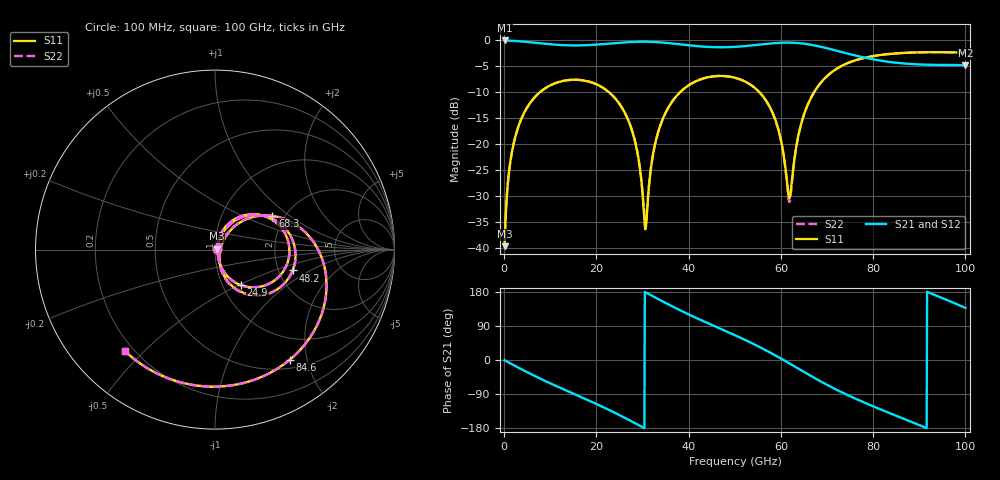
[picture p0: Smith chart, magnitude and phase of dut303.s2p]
! Touchstone file exported from HFSS 2026.1.0
!  File:  C:/ffzhzh/LocalFiles/Ansys_Project_Files/temp_train_TSV_RDL_303_1783696825_45496.aedt
!  Generated:  11:26:18 PM Jul 10, 2026
!  Design:  TSV_RDL
!  Project:  temp_train_TSV_RDL_303_1783696825_45496
! Variables:
!  h_bsmrdl = 3.25um
!  h_ox = 20um
!  h_rdl = 5um
!  h_sub = 55.35um
!  h_tmrdl = 3.82um
!  h_tsv = 55.35um
!  h_via = 3um
!  l_bsmrdl = 327.66um
!  l_sub = 2072.75um
!  l_tmrdl = 135.67um
!  m_sub = 200um
!  pitch = 44.4um
!  r_tsv = 10.33um
!  s_tmrdl = 10um
!  w_bsmrdl = 19.05um
!  w_sub = 500um
!  w_tmrdl = 29.98um
!  x_tsv_center1 = 150.66um
!  x_tsv_center2 = 497.37um
!  x_tsv_center3 = 663.02um
!  x_tsv_center4 = 1009.73um
!  x_tsv_center5 = 1175.38um
!  x_tsv_center6 = 1522.09um
# GHz S MA R 50.000000
! Terminal data exported
! Port[1] = TM_RDL1_1_T1
! Port[2] = TM_RDL5_1_T1
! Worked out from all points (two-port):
!   1000 points, 100 MHz to 100 GHz, reference 50 ohm
!   highest |S21| = -0.08 dB at 100 MHz (marker M1); lowest = -4.8 dB at 100 GHz (marker M2)
!   |S21| within 3 dB of the highest: start of sweep to 76.61 GHz
!   lowest |S11| = -39.7 dB at 100 MHz (marker M3), VSWR 1.02, Z = 50.9 + j0.559 ohm
!   |S11| at or under -10 dB: start of sweep to 7.827 GHz; 22.66 GHz to 38.2 GHz (15.54 GHz wide, 51.1 % of centre); 55.29 GHz to 67.23 GHz (11.95 GHz wide, 19.5 % of centre)
!   |S22| runs from -39.7 to -2.3 dB; largest |S21 - S12| = 1.7e-14
!   S11 on the Smith chart (normalised r, x): 100 MHz: 1.02, +0.01; 24.9 GHz: 1.22, -0.52; 48.2 GHz: 2.38, -0.69; 68.3 GHz: 1.73, +0.75; 84.6 GHz: 0.63, -1.71; 100 GHz: 0.17, -0.44
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0.1  0.01032 32.2  0.9913 -0.7  0.9913 -0.7  0.01032 32.2
! Gamma 0 0 0 0
! Port Impedance 50 0 50 0
1.6  0.07933 70.7  0.9849 -10.6  0.9849 -10.6  0.07933 70.7
4.4  0.2015 57.2  0.9642 -28.5  0.9642 -28.5  0.2015 57.2
10.2  0.3697 24.6  0.909 -62.7  0.909 -62.7  0.3696 24.6
16.8  0.4107 -10.1  0.8896 -98.5  0.8896 -98.5  0.4106 -10.0
24.9  0.2462 -53.8  0.9408 -144.8  0.9408 -144.8  0.2462 -53.5
28.4  0.1047 -70.7  0.9616 -166.8  0.9616 -166.8  0.1048 -69.8
30.6  0.01501 -8.6  0.9644 178.9  0.9644 178.9  0.01686 -7.3
33.4  0.13 62.8  0.9535 160.7  0.9535 160.7  0.1305 61.9
40.3  0.3737 26.2  0.8875 118.7  0.8875 118.7  0.374 25.8
48.2  0.448 -15.0  0.8538 75.5  0.8538 75.5  0.4481 -15.4
50.1  0.4324 -24.8  0.8608 65.1  0.8608 65.1  0.4326 -25.2
58  0.2079 -66.5  0.9294 17.5  0.9294 17.5  0.2077 -67.3
61.8  0.03013 -15.5  0.9447 -8.8  0.9447 -8.8  0.02758 -16.2
64.1  0.1384 51.1  0.9326 -25.1  0.9326 -25.1  0.1379 52.1
66.7  0.2876 39.7  0.8982 -43.5  0.8982 -43.5  0.2874 40.1
68.3  0.3708 30.4  0.8688 -54.4  0.8688 -54.4  0.3707 30.6
75.7  0.6287 -11.7  0.7177 -99.5  0.7177 -99.5  0.6288 -11.6
83.4  0.7335 -50.0  0.6165 -139.3  0.6165 -139.3  0.7337 -50.0
84.6  0.7415 -55.8  0.6072 -145.2  0.6072 -145.2  0.7417 -55.8
92.3  0.7639 -93.0  0.5778 176.9  0.5778 176.9  0.7642 -93.1
100  0.7559 -131.7  0.5735 137.6  0.5735 137.6  0.7561 -131.8
